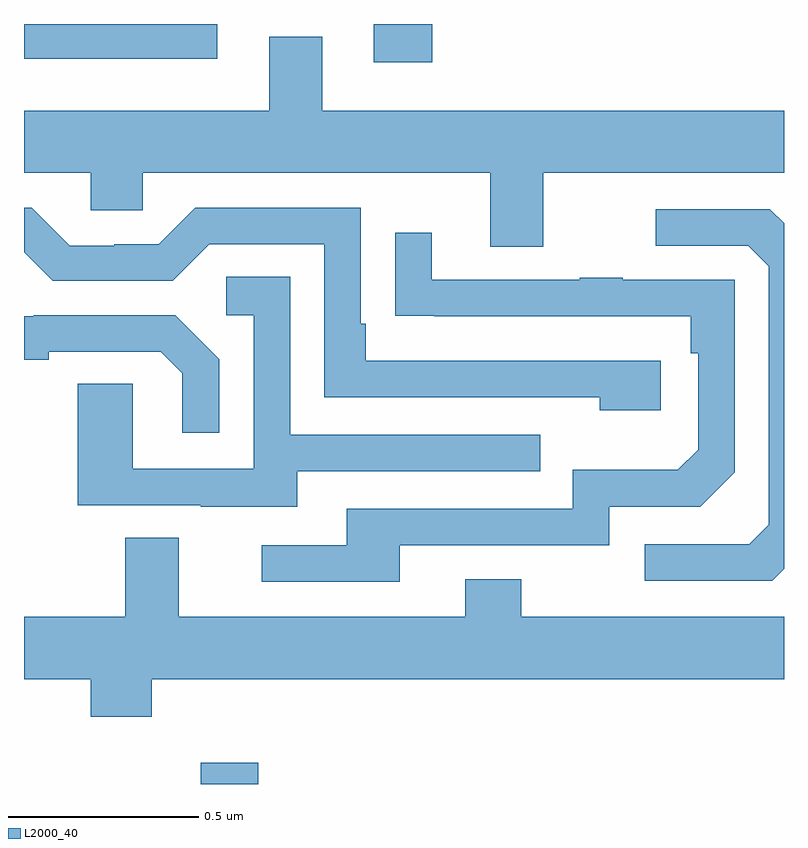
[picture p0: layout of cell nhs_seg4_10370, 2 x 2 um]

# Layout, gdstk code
import gdstk
lib = gdstk.Library(unit=1e-6, precision=1e-09)
def R(c, l, rs):  # rectangles x0, y0, x1, y1
    for r in rs: c.add(gdstk.rectangle(r[:2], r[2:], *l))
def P(c, l, *ps):  # polygons
    for p in ps: c.add(gdstk.Polygon(p, *l))
L2000_40 = (2000, 40)

nhs_seg4_10370 = lib.new_cell('nhs_seg4_10370')
R(nhs_seg4_10370, L2000_40, [(239.465,773.9,239.617,773.956), (239.921,775.8,240.074,775.9), (239,775.808,239.509,775.9)])
P(nhs_seg4_10370, L2000_40, [(240.367,775.508),(241,775.508),(241,775.672),(239.785,775.672),(239.785,775.867),(239.645,775.867),(239.645,775.672),(239,775.672),(239,775.508),(239.175,775.508),(239.175,775.41),(239.313,775.41),(239.313,775.508),(240.227,775.508),(240.227,775.314),(240.367,775.314)],
  [(240.676,775.014),(239.899,775.014),(239.899,775.111),(239.886,775.111),(239.886,775.416),(239.451,775.416),(239.355,775.32),(239.237,775.32),(239.237,775.317),(239.121,775.317),(239.021,775.417),(239,775.417),(239,775.3),(239.076,775.224),(239.391,775.224),(239.487,775.32),(239.79,775.32),(239.79,774.918),(240.515,774.918),(240.515,774.884),(240.676,774.884)],
  [(241,774.466),(241,775.376),(240.963,775.413),(240.663,775.413),(240.663,775.317),(240.906,775.317),(240.96,775.263),(240.96,774.582),(240.909,774.531),(240.633,774.531),(240.633,774.435),(240.969,774.435)],
  [(239.989,774.528),(240.54,774.528),(240.54,774.63),(240.78,774.63),(240.87,774.72),(240.87,775.227),(240.575,775.227),(240.575,775.232),(240.463,775.232),(240.463,775.227),(240.073,775.227),(240.073,775.351),(239.977,775.351),(239.977,775.132),(240.079,775.132),(240.079,775.131),(240.754,775.131),(240.754,775.034),(240.774,775.034),(240.774,774.78),(240.721,774.727),(240.444,774.727),(240.444,774.624),(239.849,774.624),(239.849,774.528),(239.625,774.528),(239.625,774.432),(239.989,774.432)],
  [(239.719,774.723),(240.359,774.723),(240.359,774.819),(239.7,774.819),(239.7,775.235),(239.532,775.235),(239.532,775.134),(239.604,775.134),(239.604,774.729),(239.286,774.729),(239.286,774.953),(239.141,774.953),(239.141,774.633),(239.465,774.633),(239.465,774.629),(239.719,774.629)],
  [(239.514,775.018),(239.398,775.134),(239.026,775.134),(239.026,775.131),(239,775.131),(239,775.016),(239.065,775.016),(239.065,775.038),(239.36,775.038),(239.417,774.981),(239.417,774.825),(239.514,774.825)],
  [(239.336,774.176),(241,774.176),(241,774.34),(240.309,774.34),(240.309,774.439),(240.161,774.439),(240.161,774.34),(239.407,774.34),(239.407,774.548),(239.267,774.548),(239.267,774.34),(239,774.34),(239,774.176),(239.176,774.176),(239.176,774.077),(239.336,774.077)])

lib.write_gds('nhs_seg4_10370.gds')
